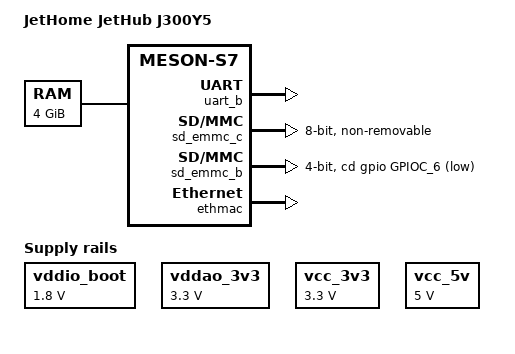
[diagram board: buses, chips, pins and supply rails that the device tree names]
// SPDX-License-Identifier: (GPL-2.0+ OR MIT)
/*
 * Copyright (c) 2026 JetHome
 * Minimal DTS for JetHub J300Y5 (S7/S905Y5)
 */

/dts-v1/;

#include "amlogic/meson-s7.dtsi"
#include "amlogic/meson-s7-txxx.dtsi"

#include <dt-bindings/gpio/gpio.h>

/ {
	compatible = "jethome,jethub-j300y5", "amlogic,s7-txxx", "amlogic,meson-s7";
	model = "JetHome JetHub J300Y5";

	aliases {
		serial0 = &uart_b;
		ethernet0 = &ethmac;
		mmc0 = &sd_emmc_b;  /* SD card */
		mmc1 = &sd_emmc_c;  /* eMMC */
	};

	chosen {
		stdout-path = "serial0:921600n8";
	};

	memory@0 {
		device_type = "memory";
		reg = <0x0 0x0 0x1 0x00000000>;
	};

	vddio_boot: regulator-vddio-boot {
		compatible = "regulator-fixed";
		regulator-name = "VDDIO_BOOT";
		regulator-min-microvolt = <1800000>;
		regulator-max-microvolt = <1800000>;
		regulator-boot-on;
		regulator-always-on;
	};

	vddao_3v3: regulator-vddao-3v3 {
		compatible = "regulator-fixed";
		regulator-name = "VDDAO_3V3";
		regulator-min-microvolt = <3300000>;
		regulator-max-microvolt = <3300000>;
		regulator-boot-on;
		regulator-always-on;
	};

	vcc_3v3: regulator-vcc-3v3 {
		compatible = "regulator-fixed";
		regulator-name = "VCC_3V3";
		regulator-min-microvolt = <3300000>;
		regulator-max-microvolt = <3300000>;
		regulator-boot-on;
		regulator-always-on;
	};

	vcc_5v: regulator-vcc-5v {
		compatible = "regulator-fixed";
		regulator-name = "VCC_5V";
		regulator-min-microvolt = <5000000>;
		regulator-max-microvolt = <5000000>;
		regulator-boot-on;
		regulator-always-on;
	};

	emmc_pwrseq: emmc-pwrseq {
		compatible = "mmc-pwrseq-emmc";
	};
};

&uart_b {
	status = "okay";
};

/* eMMC */
&sd_emmc_c {
	status = "okay";
	pinctrl-0 = <&emmc_pins>;
	pinctrl-names = "default";

	bus-width = <8>;
	cap-mmc-highspeed;
	mmc-hs200-1_8v;
	max-frequency = <200000000>;
	non-removable;
	disable-wp;
	card_type = <1>;

	init_co_phase = <2>;
	init_tx_phase = <0>;

	hs_co_phase = <2>;
	hs_to_phase = <0>;

	hs2_co_phase = <2>;
	hs2_to_phase = <0>;

	hw_reset = <&gpio GPIOB_9 GPIO_ACTIVE_HIGH>;
};

/* SD card */
&sd_emmc_b {
	status = "okay";
	pinctrl-0 = <&sdcard_pins>;
	pinctrl-1 = <&sdcard_pins &to_sduart_pins>;
	pinctrl-names = "sd_all_pins", "sd_uart";
	card_type = <5>;

	bus-width = <4>;
	cap-sd-highspeed;
	max-frequency = <50000000>;
	disable-wp;

	cd-gpios = <&gpio GPIOC_6 GPIO_ACTIVE_HIGH>;
	cd-inverted;

	init_co_phase = <2>;
	init_tx_phase = <0>;

	sd_hs_co_phase = <2>;
	sd_hs_to_phase = <0>;
};

&ethmac {
	status = "okay";
	internal_phy = <1>;
};
